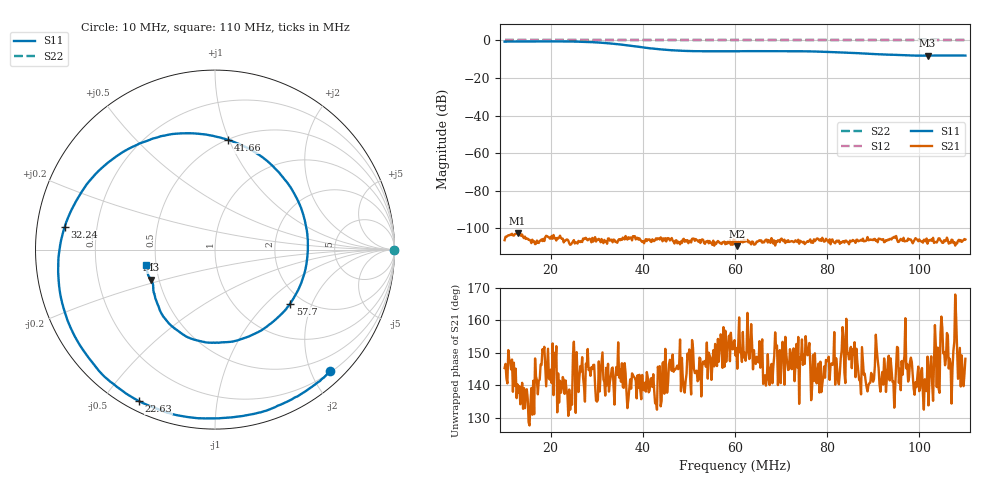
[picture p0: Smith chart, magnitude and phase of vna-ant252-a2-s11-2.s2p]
! Anritsu VNA Master:  Model: MS2034B/10/19/501
! SN:  1337062
! /bd0/ovro-jan-2016/vna-jan/vna-ant252-a2-s11-2.s2p
! Existing Calibration Information:
! TYPE:  Current Settings,  Active Cal Settings
! TIME:  01/13/2016 06:06:59 PM,  01/13/2016 05:56:29 PM
! INTERNAL TEMP:  41.0 C,  43.3 C
! # POINTS:  500,  500
! START FREQ:  10.000 MHz,  10.000 MHz
! STOP FREQ:  110.000 MHz,  110.000 MHz
! SOURCE POWER:  High,  High
! IFBW:  100 Hz,  100 Hz
! AVG FACTOR:  4 ,  4
! REF PLANE 1:  0 mm,  0 mm
! REF PLANE 2:  0 mm,  0 mm
! CAL TYPE:  Full S11,  Full S11
! CAL METHOD:  SOLT,  SOLT
! CAL LINE TYPE:  Coax,  Coax
! DUT PORT 1:  K-Conn(M),  K-Conn(M)
! DUT PORT 2:  N-Conn(M),  N-Conn(M)
! CAL STATUS:  OK: Accuracy High,  --
# GHZ S DB R 50.0
! FREQ.GHZ  S11DB  S11A  S21DB  S21A  S12DB  S12A  S22DB  S22A
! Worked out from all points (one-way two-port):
!   500 points, 10 MHz to 110 MHz, reference 50 ohm
!   highest |S21| = -102.79 dB at 12.81 MHz (marker M1); lowest = -109.6 dB at 60.5 MHz (marker M2)
!   lowest |S11| = -8.1 dB at 101.8 MHz (marker M3), VSWR 2.29, Z = 22.7 - j8.96 ohm
!   |S11| at or under -10 dB: nowhere
!   |S22| runs from 0.0 to 0.0 dB; largest |S21 - S12| = 1
!   S11 on the Smith chart (normalised r, x): 10 MHz: 0.22, -2.31; 22.63 MHz: 0.04, -0.62; 32.24 MHz: 0.08, +0.08; 41.66 MHz: 0.50, +0.99; 57.7 MHz: 1.71, -1.41; 110 MHz: 0.44, -0.09
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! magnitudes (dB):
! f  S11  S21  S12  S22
! 10 MHz  -0.6  -106.4  0.0  0.0
! 12.81 MHz  -0.6  -102.8  0.0  0.0
! 22.63 MHz  -0.5  -105.6  0.0  0.0
! 26.83 MHz  -0.7  -107.4  0.0  0.0
! 29.44 MHz  -1.0  -105.8  0.0  0.0
! 32.24 MHz  -1.4  -108.3  0.0  0.0
! 35.25 MHz  -2.2  -105.8  0.0  0.0
! 41.66 MHz  -4.2  -107.1  0.0  0.0
! 43.47 MHz  -4.7  -105.6  0.0  0.0
! 45.87 MHz  -5.2  -106.6  0.0  0.0
! 49.48 MHz  -5.6  -107.1  0.0  0.0
! 52.48 MHz  -5.7  -107.9  0.0  0.0
! 57.7 MHz  -5.8  -107.2  0.0  0.0
! 60.1 MHz  -5.8  -106.7  0.0  0.0
! 60.5 MHz  -5.8  -109.6  0.0  0.0
! 67.72 MHz  -5.7  -107.9  0.0  0.0
! 76.73 MHz  -5.8  -107.2  0.0  0.0
! 84.95 MHz  -6.6  -106.6  0.0  0.0
! 93.37 MHz  -7.6  -106.4  0.0  0.0
! 98.58 MHz  -8.0  -108.1  0.0  0.0
! 101.8 MHz  -8.1  -108.3  0.0  0.0
! 110 MHz  -8.0  -106.1  0.0  0.0
